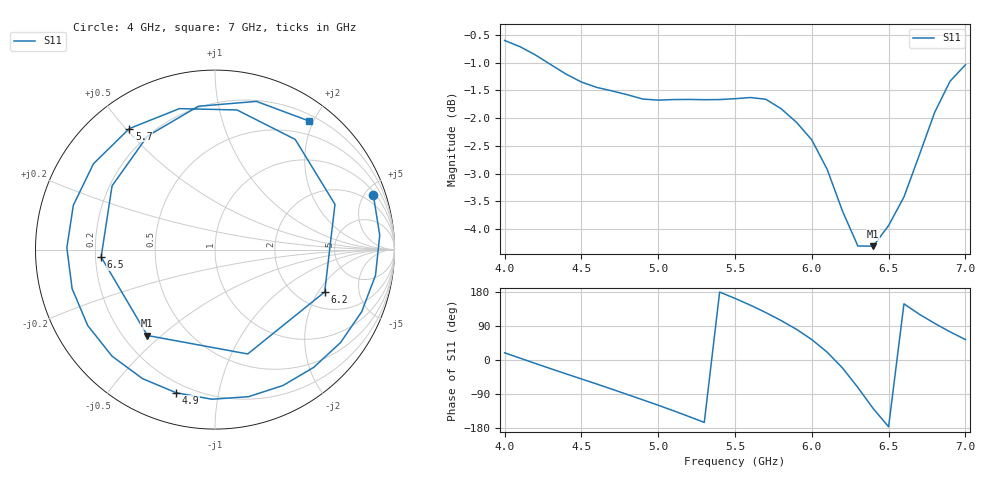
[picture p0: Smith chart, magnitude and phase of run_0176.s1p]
! Touchstone file exported from HFSS 2024.2.0
!  File:  C:/Users/wsak9/Desktop/Sim Fast/Widenad Patch/WP_AI_V1_sweep.aedt
!  Generated:  10:16:55 PM Oct 13, 2026
!  Design:  A1_model
!  Project:  WP_AI_V1_sweep
!  Setup:  Setup1
!  Solution:  Sweep
! Variables:
!  Air_gap = 3.39mm
!  Curve_Amp1 = 0.8
!  Curve_len1 = 1
!  Curve_pos = 9.84mm
!  Extra = 2.18mm
!  H_sub = 0.79mm
!  L_Patch = 15.68mm
!  L_Patch1 = 19.09mm
!  Sx = 0.66mm
!  Sy = 1.82mm
!  WS = 1.5mm
!  W_Patch = 20.4mm
!  W_Patch1 = 16.91mm
!Data is not renormalized
# GHz S MA
! Terminal data exported
! Port[1] = 1
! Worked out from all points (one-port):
!   31 points, 4 GHz to 7 GHz, reference per port
!   lowest |S11| = -4.3 dB at 6.4 GHz (marker M1), VSWR 4.12
!   |S11| at or under -10 dB: nowhere
!   S11 on the Smith chart (normalised r, x): 4 GHz: 1.21, +5.71; 4.9 GHz: 0.15, -0.75; 5.7 GHz: 0.12, +0.51; 6.2 GHz: 2.76, -2.28; 6.5 GHz: 0.22, -0.03; 7 GHz: 0.29, +1.93
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4  0.9332 19.1
4.1  0.9213 5.0
4.2  0.9056 -9.1
4.4  0.8703 -36.5
4.6  0.8466 -63.4
4.7  0.8405 -77.2
4.8  0.8338 -91.2
4.9  0.8265 -105.2
5  0.8246 -119.3
5.2  0.8258 -149.2
5.3  0.8253 -164.7
5.4  0.8255 179.3
5.5  0.8271 162.6
5.6  0.829 144.8
5.7  0.8261 125.3
5.8  0.8101 104.2
5.9  0.7876 81.0
6  0.7593 53.9
6.1  0.7144 20.7
6.2  0.655 -21.1
6.3  0.6093 -72.6
6.4  0.6091 -128.2
6.5  0.6357 -176.3
6.6  0.6745 148.2
6.7  0.7358 120.8
6.8  0.8039 96.6
6.9  0.8575 74.4
7  0.8873 53.9
